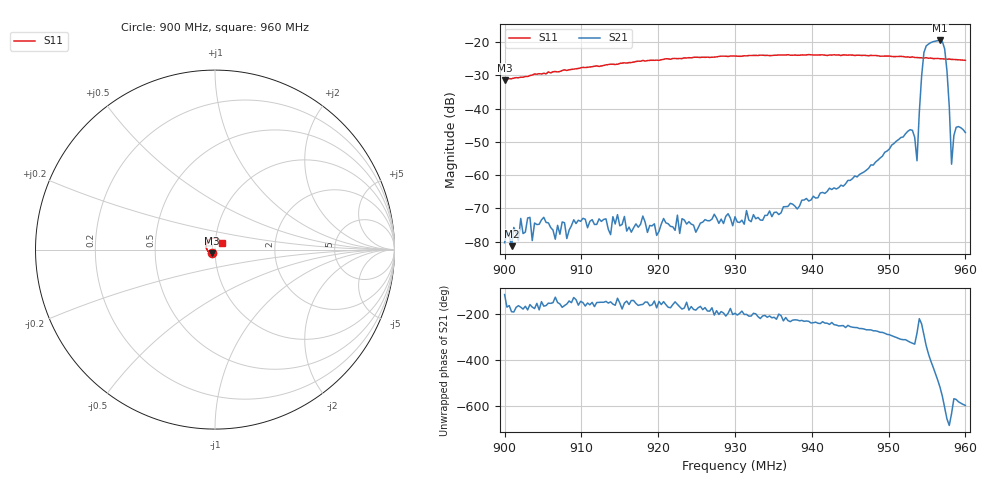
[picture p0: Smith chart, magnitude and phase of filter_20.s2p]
!File created by NanoVNA-F V2
# Hz S RI R 50
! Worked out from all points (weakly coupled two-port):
!   201 points, 900 MHz to 960 MHz, reference 50 ohm
!   highest |S21| = -19.47 dB at 956.7 MHz (marker M1); lowest = -81.4 dB at 900.9 MHz (marker M2)
!   lowest |S11| = -31.4 dB at 900 MHz (marker M3), VSWR 1.06, Z = 48.4 - j2.07 ohm
!   |S11| at or under -10 dB: start of sweep to end of sweep
!   S12 and S22 are empty: the file has one direction only
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9e8  -0.0163 -0.0214  -4.1e-05 -8.7e-05  0 0  0 0
9.009e8  -0.0185 -0.0212  -8.4e-05 1.5e-05  0 0  0 0
9.018e8  -0.0203 -0.0211  -0.0001 -2.9e-05  0 0  0 0
9.021e8  -0.0209 -0.0211  -0.00022 -3.7e-05  0 0  0 0
9.024e8  -0.0217 -0.0203  -0.000132 -3e-06  0 0  0 0
9.033e8  -0.0249 -0.0194  -0.000216 -8.3e-05  0 0  0 0
9.036e8  -0.0258 -0.0191  -0.000102 -1.8e-05  0 0  0 0
9.051e8  -0.0299 -0.0164  -0.000225 -5.7e-05  0 0  0 0
9.066e8  -0.0331 -0.0147  -6.5e-05 -8.7e-05  0 0  0 0
9.102e8  -0.0414 -0.00605  -0.000195 -0.00011  0 0  0 0
9.201e8  -0.0486 0.022  -0.000117 -8.1e-05  0 0  0 0
9.3e8  -0.0383 0.0488  -0.000226 6.9e-05  0 0  0 0
9.402e8  -0.0118 0.063  -0.000254 0.000409  0 0  0 0
9.501e8  0.0166 0.0596  0.000865 0.00231  0 0  0 0
9.531e8  0.0244 0.0549  0.004 0.00252  0 0  0 0
9.537e8  0.0254 0.053  0.000374 0.0016  0 0  0 0
9.546e8  0.0266 0.0511  0.0253 0.0653  0 0  0 0
9.567e8  0.0332 0.0456  -0.1 -0.0357  0 0  0 0
9.576e8  0.0335 0.0442  0.0174 0.0327  0 0  0 0
9.582e8  0.0348 0.0427  0.000116 0.00145  0 0  0 0
9.588e8  0.0351 0.0419  -0.00439 0.00286  0 0  0 0
9.6e8  0.0388 0.0369  -0.00226 0.00375  0 0  0 0
